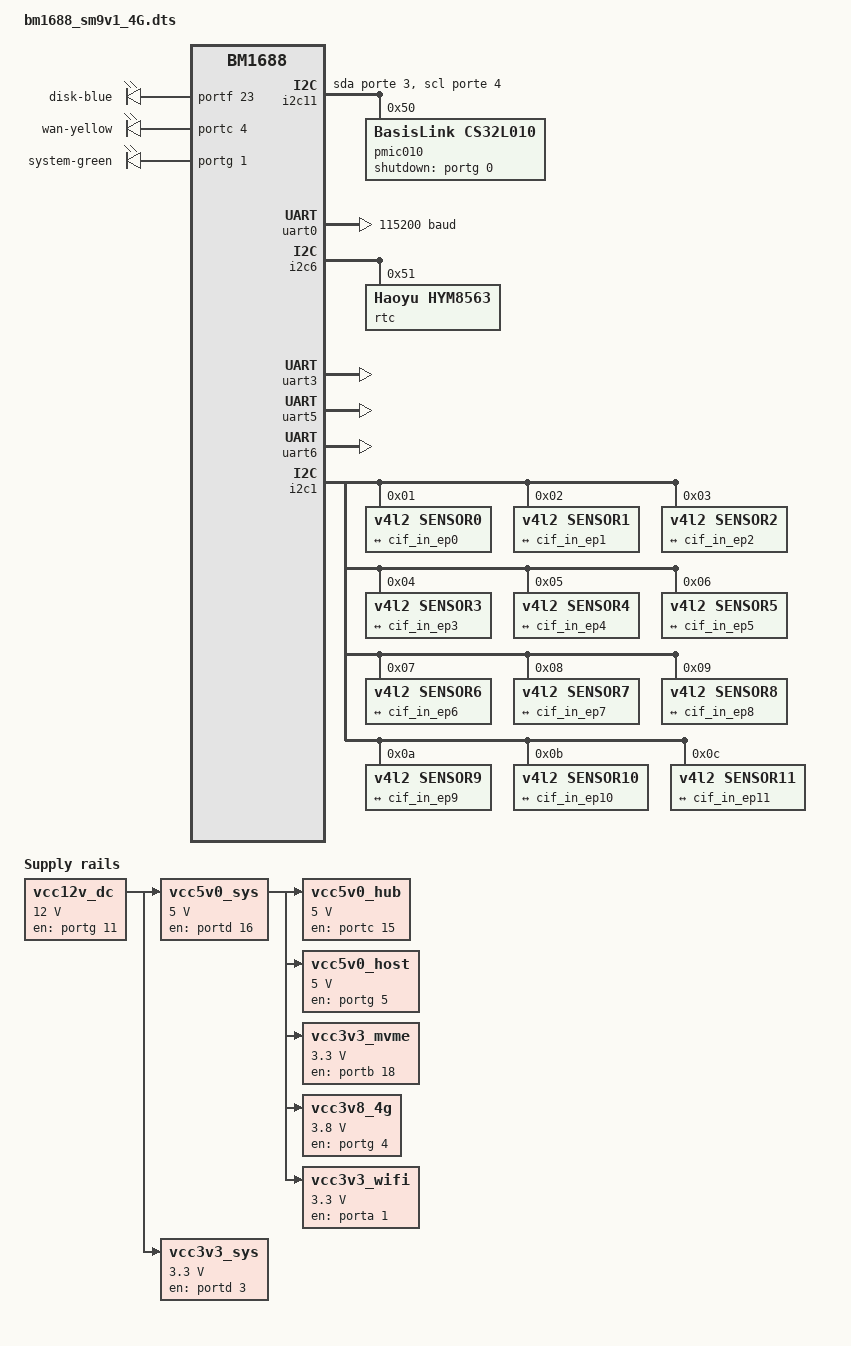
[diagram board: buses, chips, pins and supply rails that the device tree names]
/dts-v1/;
#include "soph_base_arm64.dtsi"
//#include "soph_asic_bga.dtsi"
#include "soph_asic_emmc.dtsi"
#include "soph_default_memmap_4G.dtsi"

/ {
	aliases {
		serial0 = &uart0;
	};

	chosen {
		stdout-path = "serial2"; // "serial0:115200n8", no arguments means no re-initialization
	};

	reserved-memory {
		#address-cells = <0x2>;
		#size-cells = <0x2>;
		ranges;
#ifndef __UBOOT__
		//0x1_0400_0000 - 0x1_2400_0000 for TPU (owner: zhuolin.li@sophgo.com)
		scalar_reserved: scalar_mem {
			reg = <0x1 0x04000000 0x0 0x10000000>;  //512MB for TPU firmware
			no-map;
		};

		//0x1_2c00_0000 - 0x1_5c00_0000 for TPU (owner: zhuolin.li@sophgo.com)
		ion_for_npu: ion_npu_mem {
			compatible = "npu-region";
			reg = <0x1 0x24000000 0x0 0x30000000>; // 768MB, for TPU
		};

		//0x1_5c00_0000 - 0x1_C000_0000 for VPP (owner: zhuolin.li@sophgo.com)
		ion_for_vpp: ion_vpp_mem {
			compatible = "vpp-region";
			reg = <0x1 0x5c000000 0x0 0x60000000>; // 1.5GB, for VPP
		};
#endif
	};

	pcie1:pcie@20400000 {
		pipe-mode = <0x2>; //b'00 x2&&x2; b'10 sata&&x2
		reset-gpio = <&porte 2 GPIO_ACTIVE_HIGH>; //gpio 130
	};

	/delete-node/ cv-sd1;
	sd:cv-sd@29310000 {
		pwr-gpios = <&portg 6 GPIO_ACTIVE_HIGH>;
	};

	thermal-zones {
		soc_thermal_0 {
			trips {
				soc_thermal_trip_0 {
					temperature = <90000>; /* millicelsius 85->110000 */
					hysteresis = <10000>; /* millicelsius */
					type = "passive";
				};

				soc_thermal_trip_1 {
					temperature = <100000>; /* millicelsius 95->120 */
					hysteresis = <20000>; /* millicelsius */
					type = "passive";
				};

				soc_thermal_crtical_0 {
					temperature = <115000>; /* millicelsius 105->125 */
					hysteresis = <0>; /* millicelsius */
					type = "critical";
				};
			};
		};
	};

	bsl_leds: bsl_leds {
		compatible = "gpio-leds";
		disk-led {
			label = "disk-blue";
			gpios = <&portf 23 GPIO_ACTIVE_HIGH>;
			default-state = "off";
		};

		wan-led {
			label = "wan-yellow";
			gpios = <&portc 4 GPIO_ACTIVE_HIGH>;
			default-state = "off";
		};

		sys_led {
			gpios = <&portg 1 GPIO_ACTIVE_HIGH>;
			label = "system-green";
			linux,default-trigger = "heartbeat";
			default-state = "on";
		};
	};

	vcc12v_dc: vcc12v-dc {
		compatible = "regulator-fixed";
		regulator-name = "vcc12v_dc";
		regulator-always-on;
		regulator-boot-on;
		regulator-min-microvolt = <12000000>;
		regulator-max-microvolt = <12000000>;
		enable-active-high;
		gpios = <&portg 11 GPIO_ACTIVE_HIGH>;
	};

	vcc5v0_sys: vcc5v0-sys {
		compatible = "regulator-fixed";
		regulator-name = "vcc5v0_sys";
		regulator-always-on;
		regulator-boot-on;
		regulator-min-microvolt = <5000000>;
		regulator-max-microvolt = <5000000>;
		enable-active-high;
		//gpios = <&portd 21 GPIO_ACTIVE_HIGH>;
		gpios = <&portd 16 GPIO_ACTIVE_HIGH>;
		vin-supply = <&vcc12v_dc>;
	};

	vcc3v3_sys: vcc3v3-sys {
		compatible = "regulator-fixed";
		regulator-name = "vcc3v3_sys";
		regulator-always-on;
		regulator-boot-on;
		regulator-min-microvolt = <3300000>;
		regulator-max-microvolt = <3300000>;
		enable-active-high;
		gpios = <&portd 3 GPIO_ACTIVE_HIGH>;
		vin-supply = <&vcc12v_dc>;
	};

	vcc5v0_hub: vcc5v0-hub {
		compatible = "regulator-fixed";
		regulator-name = "vcc5v0_hub";
		regulator-always-on;
		regulator-boot-on;
		regulator-min-microvolt = <5000000>;
		regulator-max-microvolt = <5000000>;
		enable-active-high;
		gpios = <&portc 15 GPIO_ACTIVE_HIGH>;
		vin-supply = <&vcc5v0_sys>;
	};

	vcc5v0_host: vcc5v0-host {
		compatible = "regulator-fixed";
		regulator-name = "vcc5v0_host";
		regulator-boot-on;
		regulator-always-on;
		regulator-min-microvolt = <5000000>;
		regulator-max-microvolt = <5000000>;
		enable-active-high;
		gpios = <&portg 5 GPIO_ACTIVE_HIGH>;
		vin-supply = <&vcc5v0_sys>;
	};

	vcc3v3_mvme: vcc3v3-nvme {
		compatible = "regulator-fixed";
		regulator-name = "vcc3v3_mvme";
		regulator-always-on;
		regulator-boot-on;
		regulator-min-microvolt = <3300000>;
		regulator-max-microvolt = <3300000>;
		enable-active-high;
		gpios = <&portb 18 GPIO_ACTIVE_HIGH>;
		vin-supply = <&vcc5v0_sys>;
	};

	vcc3v8_4g: vcc3v8-4g {
		compatible = "regulator-fixed";
		regulator-name = "vcc3v8_4g";
		regulator-boot-on;
		regulator-always-on;
		regulator-min-microvolt = <3800000>;
		regulator-max-microvolt = <3800000>;
		enable-active-high;
		gpios = <&portg 4 GPIO_ACTIVE_HIGH>;
		vin-supply = <&vcc5v0_sys>;
	};

	vcc3v3_wifi: vcc3v3-wifi {
		compatible = "regulator-fixed";
		regulator-name = "vcc3v3_wifi";
		regulator-boot-on;
		regulator-always-on;
		regulator-min-microvolt = <3300000>;
		regulator-max-microvolt = <3300000>;
		enable-active-high;
		gpios = <&porta 1 GPIO_ACTIVE_HIGH>;
		vin-supply = <&vcc5v0_sys>;
	};

	i2c11: i2c@11 {
		compatible = "i2c-gpio";
		sda-gpios = <&porte 3 GPIO_ACTIVE_HIGH>;
		scl-gpios = <&porte 4 GPIO_ACTIVE_HIGH>;
		i2c-gpio,delay-us = <5>;
		#address-cells = <1>;
		#size-cells = <0>;
		reset-names = "i2c11";
		status = "okay";

		pmic010: pmic010@50 {
			compatible = "BasisLink,cs32l010";
			shutdown-gpio = <&portg 0 GPIO_ACTIVE_HIGH>;
			reg = <0x50>;
		};
	};
};

&uart0 {
	clock-frequency = <200000000>;
	current-speed = <115200>;
};

&hdmi {
	phy-table =
			<0  0x0007 0x0120 0x8d88>,
			<1  0x0007 0x0120 0x8d88>,
			<2  0x0007 0x0120 0x8d88>,
			<3  0x0007 0x0120 0x8d88>,
			<4  0x0007 0x0120 0x8d88>,
			<5  0x0007 0x0120 0x8d88>,
			<6  0x0000 0x0120 0x83F8>,
			<7  0x0000 0x0120 0x83F8>,
			<8  0x0000 0x0120 0x83F8>,
			<9  0x0000 0x0080 0x8FF4>,
			<10 0x0000 0x0080 0x8FF4>;
};


&usbdrd3_0 {
	usbdrd_dwc3_0: usb@39010000 {
		role-switch-default-mode = "host";
	};
};


&i2c6 {
	rtc@51 {
		compatible = "Haoyu,hym8563";
		init_date = "2024/01/01";
		reg = <0x51>;
	};
};

&gpio_leds {
	status = "disable";
};

&uart3 {
	status = "okay";
};

&uart5 {
	status = "okay";
};

&uart6 {
	status = "okay";
};

&cif_v4l2 {
    ports {
    #address-cells = <1>;
        #size-cells = <0>;
        cif_in: port@0 {
            reg = <0>;
        cif_in_ep0: endpoint@0 {
                remote-endpoint = <&sensor0_out>;
        };
        cif_in_ep1: endpoint@1 {
                remote-endpoint = <&sensor1_out>;
        };
        cif_in_ep2: endpoint@2 {
                remote-endpoint = <&sensor2_out>;
        };
        cif_in_ep3: endpoint@3 {
                remote-endpoint = <&sensor3_out>;
        };
        cif_in_ep4: endpoint@4 {
                remote-endpoint = <&sensor4_out>;
        };
        cif_in_ep5: endpoint@5 {
                remote-endpoint = <&sensor5_out>;
        };
        cif_in_ep6: endpoint@6 {
                remote-endpoint = <&sensor6_out>;
        };
        cif_in_ep7: endpoint@7 {
                remote-endpoint = <&sensor7_out>;
        };
        cif_in_ep8: endpoint@8 {
            	remote-endpoint = <&sensor8_out>;
        };
        cif_in_ep9: endpoint@9 {
                remote-endpoint = <&sensor9_out>;
        };
        cif_in_ep10: endpoint@10 {
                remote-endpoint = <&sensor10_out>;
        };
        cif_in_ep11: endpoint@11 {
                remote-endpoint = <&sensor11_out>;
        };
    };
    };
};

&i2c1 {
    sensor0@1{
            status = "okay";
            compatible = "v4l2,sensor0";
            reg = <0x01>;
            port {
                    sensor0_out: endpoint {
                        remote-endpoint = <&cif_in_ep0>;
                };
            };
       };

    sensor1@2{
            status = "okay";
            compatible = "v4l2,sensor1";
             reg = <0x02>;
            port {
                    sensor1_out: endpoint {
                        remote-endpoint = <&cif_in_ep1>;
                };
            };
       };

    sensor2@3{
               status = "okay";
               compatible = "v4l2,sensor2";
               reg = <0x03>;
               port {
                       sensor2_out: endpoint {
                               remote-endpoint = <&cif_in_ep2>;
                       };
               };
       };

    sensor3@4{
               status = "okay";
               compatible = "v4l2,sensor3";
               reg = <0x04>;
               port {
                       sensor3_out: endpoint {
                               remote-endpoint = <&cif_in_ep3>;
                       };
               };
       };

    sensor4@5{
               status = "okay";
               compatible = "v4l2,sensor4";
               reg = <0x05>;
               port {
                       sensor4_out: endpoint {
                               remote-endpoint = <&cif_in_ep4>;
                       };
               };
       };

    sensor5@6{
            	status = "okay";
               compatible = "v4l2,sensor5";
               reg = <0x06>;
               port {
                       sensor5_out: endpoint {
                               remote-endpoint = <&cif_in_ep5>;
                       };
               };
       };

    sensor6@7{
               status = "okay";
               compatible = "v4l2,sensor6";
               reg = <0x07>;
               port {
                       sensor6_out: endpoint {
                               remote-endpoint = <&cif_in_ep6>;
                       };
               };
       };

    sensor7@8{
               status = "okay";
               compatible = "v4l2,sensor7";
               reg = <0x08>;
               port {
                       sensor7_out: endpoint {
                               remote-endpoint = <&cif_in_ep7>;
                       };
               };
       };

    sensor8@9{
               status = "okay";
               compatible = "v4l2,sensor8";
               reg = <0x09>;
               port {
                       sensor8_out: endpoint {
                               remote-endpoint = <&cif_in_ep8>;
                       };
               };
       };

    sensor9@a{
               status = "okay";
               compatible = "v4l2,sensor9";
               reg = <0x0a>;
               port {
                       sensor9_out: endpoint {
                               remote-endpoint = <&cif_in_ep9>;
                       };
               };
       };

    sensor10@b{
               status = "okay";
               compatible = "v4l2,sensor10";
               reg = <0x0b>;
               port {
                       sensor10_out: endpoint {
                               remote-endpoint = <&cif_in_ep10>;
                       };
               };
       };

    sensor11@c{
               status = "okay";
               compatible = "v4l2,sensor11";
               reg = <0x0c>;
               port {
                       sensor11_out: endpoint {
                               remote-endpoint = <&cif_in_ep11>;
                       };
               };
       };
};
